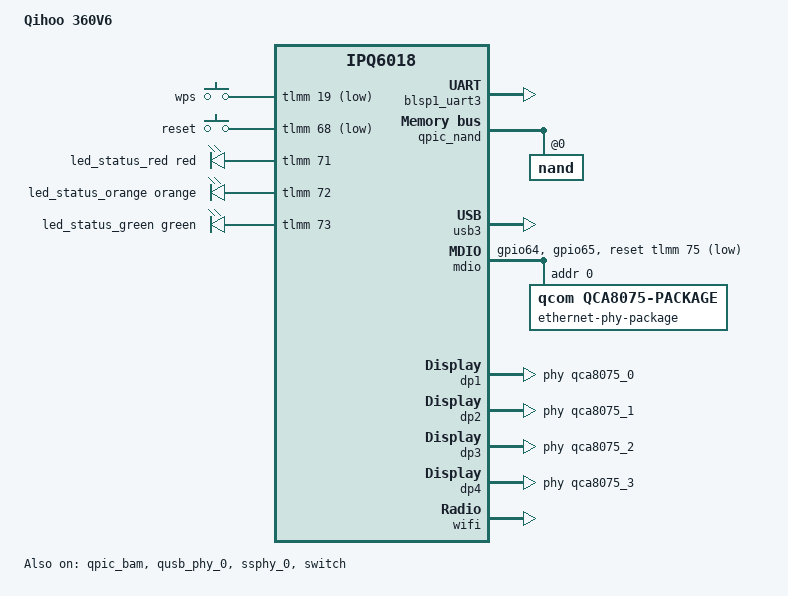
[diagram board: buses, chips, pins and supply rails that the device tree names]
// SPDX-License-Identifier: GPL-2.0-or-later OR MIT

/dts-v1/;

#include "ipq6018-512m.dtsi"
#include "ipq6018-ess.dtsi"
#include "ipq6018-cp-cpu.dtsi"

#include <dt-bindings/gpio/gpio.h>
#include <dt-bindings/input/input.h>
#include <dt-bindings/leds/common.h>

/ {
	model = "Qihoo 360V6";
	compatible = "qihoo,360v6", "qcom,ipq6018";

	aliases {
		serial0 = &blsp1_uart3;
		led-boot = &led_status_red;
		led-failsafe = &led_status_red;
		led-running = &led_status_green;
		led-upgrade = &led_status_orange;
	};

	chosen {
		stdout-path = "serial0:115200n8";
		bootargs-append = " root=/dev/ubiblock0_1";
	};

	keys {
		compatible = "gpio-keys";

		wps {
			label = "wps";
			linux,code = <KEY_WPS_BUTTON>;
			gpios = <&tlmm 19 GPIO_ACTIVE_LOW>;
		};

		reset {
			label = "reset";
			linux,code = <KEY_RESTART>;
			gpios = <&tlmm 68 GPIO_ACTIVE_LOW>;
		};
	};

	leds {
		compatible = "gpio-leds";

		led_status_red: red {
			color = <LED_COLOR_ID_RED>;
			function = LED_FUNCTION_STATUS;
			gpios = <&tlmm 71 GPIO_ACTIVE_HIGH>;
		};

		led_status_orange: orange {
			color = <LED_COLOR_ID_ORANGE>;
			function = LED_FUNCTION_STATUS;
			gpios = <&tlmm 72 GPIO_ACTIVE_HIGH>;
		};

		led_status_green: green {
			color = <LED_COLOR_ID_GREEN>;
			function = LED_FUNCTION_STATUS;
			gpios = <&tlmm 73 GPIO_ACTIVE_HIGH>;
		};
	};
};

&tlmm {
	mdio_pins: mdio-pins {
		mdc {
			pins = "gpio64";
			function = "mdc";
			drive-strength = <8>;
			bias-pull-up;
		};

		mdio {
			pins = "gpio65";
			function = "mdio";
			drive-strength = <8>;
			bias-pull-up;
		};
	};
};

&blsp1_uart3 {
	pinctrl-0 = <&serial_3_pins>;
	pinctrl-names = "default";
	status = "okay";
};

&qpic_bam {
	status = "okay";
};

&qpic_nand {
	status = "okay";

	nand@0 {
		reg = <0>;
		nand-ecc-strength = <4>;
		nand-ecc-step-size = <512>;
		nand-bus-width = <8>;

		partitions {
			compatible = "qcom,smem-part";
		};
	};
};

&qusb_phy_0 {
	status = "okay";
};

&ssphy_0 {
	status = "okay";
};

&usb3 {
	status = "okay";
};

&mdio {
	status = "okay";

	pinctrl-0 = <&mdio_pins>;
	pinctrl-names = "default";
	reset-gpios = <&tlmm 75 GPIO_ACTIVE_LOW>;

	ethernet-phy-package@0 {
		compatible = "qcom,qca8075-package";
		#address-cells = <1>;
		#size-cells = <0>;
		reg = <0>;

		qca8075_0: ethernet-phy@0 {
			compatible = "ethernet-phy-ieee802.3-c22";
			reg = <0>;
		};

		qca8075_1: ethernet-phy@1 {
			compatible = "ethernet-phy-ieee802.3-c22";
			reg = <1>;
		};

		qca8075_2: ethernet-phy@2 {
			compatible = "ethernet-phy-ieee802.3-c22";
			reg = <2>;
		};

		qca8075_3: ethernet-phy@3 {
			compatible = "ethernet-phy-ieee802.3-c22";
			reg = <3>;
		};
	};
};

&switch {
	status = "okay";

	switch_lan_bmp = <(ESS_PORT1 | ESS_PORT2 | ESS_PORT3)>;
	switch_wan_bmp = <ESS_PORT4>;
	switch_mac_mode = <MAC_MODE_PSGMII>;

	qcom,port_phyinfo {
		port@1 {
			port_id = <1>;
			phy_address = <0>;
		};
		port@2 {
			port_id = <2>;
			phy_address = <1>;
		};
		port@3 {
			port_id = <3>;
			phy_address = <2>;
		};
		port@4 {
			port_id = <4>;
			phy_address = <3>;
		};
	};
};

&edma {
	status = "okay";
};

&dp1 {
	status = "okay";
	phy-handle = <&qca8075_0>;
	label = "lan1";
};

&dp2 {
	status = "okay";
	phy-handle = <&qca8075_1>;
	label = "lan2";
};

&dp3 {
	status = "okay";
	phy-handle = <&qca8075_2>;
	label = "lan3";
};

&dp4 {
	status = "okay";
	phy-handle = <&qca8075_3>;
	label = "wan";
};

&wifi {
	status = "okay";

	qcom,ath11k-fw-memory-mode = <1>;
	qcom,ath11k-calibration-variant = "Qihoo-360V6";
};
